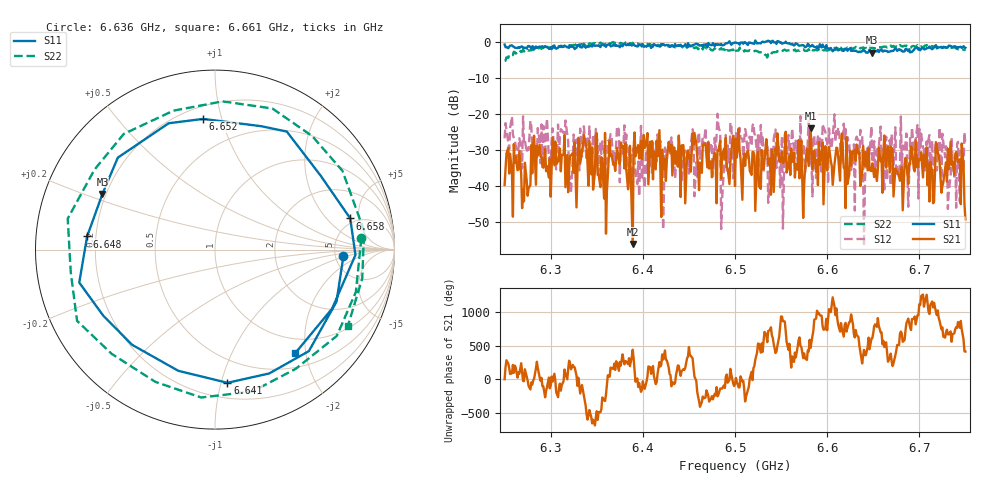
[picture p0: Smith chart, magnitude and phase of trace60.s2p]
# Hz S RI R 50
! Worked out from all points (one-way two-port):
!   401 points, 6.25 GHz to 6.75 GHz, reference 50 ohm
!   highest |S21| = -24.00 dB at 6.582 GHz (marker M1); lowest = -56.2 dB at 6.389 GHz (marker M2)
!   lowest |S11| = -3.1 dB at 6.649 GHz (marker M3), VSWR 5.66, Z = 9.3 + j11.3 ohm
!   |S11| at or under -10 dB: nowhere
!   |S22| runs from -5.4 to -0.1 dB; largest |S21 - S12| = 0.13
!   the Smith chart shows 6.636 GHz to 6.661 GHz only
!   S11 on the Smith chart (normalised r, x): 6.636 GHz: 5.92, -0.87; 6.641 GHz: 0.31, -1.05; 6.648 GHz: 0.17, +0.05; 6.652 GHz: 0.28, +0.87; 6.658 GHz: 4.42, +3.82; 6.661 GHz: 0.73, -1.81
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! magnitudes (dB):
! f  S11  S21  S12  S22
! 6.25 GHz  -0.8  -39.8  -26.8  -5.4
! 6.334 GHz  -1.6  -30.3  -31.9  -0.7
! 6.389 GHz  -0.9  -56.2  -39.6  -0.3
! 6.402 GHz  -1.3  -29.5  -40.6  -0.7
! 6.418 GHz  -1.3  -24.6  -29.3  -1.2
! 6.5 GHz  -0.2  -40.0  -33.9  -2.4
! 6.525 GHz  -0.4  -30.5  -26.0  -2.7
! 6.539 GHz  -0.4  -42.5  -29.4  -3.7
! 6.582 GHz  -1.3  -24.0  -23.8  -2.1
! 6.584 GHz  -0.9  -35.4  -43.0  -2.4
! 6.636 GHz  -2.9  -40.0  -24.5  -1.7
! 6.641 GHz  -2.6  -34.5  -38.7  -1.8
! 6.648 GHz  -2.9  -35.9  -23.4  -1.8
! 6.649 GHz  -3.1  -33.8  -34.6  -1.5
! 6.652 GHz  -2.7  -35.2  -35.7  -1.9
! 6.658 GHz  -2.2  -33.2  -23.5  -1.6
! 6.661 GHz  -2.7  -31.6  -37.2  -1.4
! 6.668 GHz  -2.7  -36.3  -27.2  -1.4
! 6.714 GHz  -2.1  -36.4  -27.5  -1.2
! 6.72 GHz  -1.7  -30.6  -29.0  -1.5
! 6.741 GHz  -1.5  -31.7  -28.5  -2.0
! 6.75 GHz  -1.7  -49.3  -28.7  -2.1
